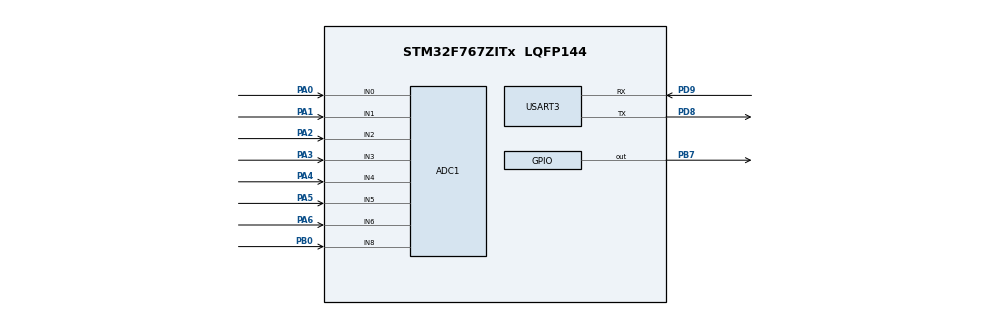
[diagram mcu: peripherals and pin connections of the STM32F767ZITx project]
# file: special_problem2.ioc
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ADC1.Channel-9\#ChannelRegularConversion=ADC_CHANNEL_0
ADC1.NbrOfConversionFlag=1
ADC1.Rank-9\#ChannelRegularConversion=1
ADC1.SamplingTime-9\#ChannelRegularConversion=ADC_SAMPLETIME_3CYCLES
ADC1.master=1
CORTEX_M7.default_mode_Activation=1
Dma.ADC1.0.Direction=DMA_PERIPH_TO_MEMORY
Dma.ADC1.0.FIFOMode=DMA_FIFOMODE_DISABLE
Dma.ADC1.0.Instance=DMA2_Stream0
Dma.ADC1.0.MemDataAlignment=DMA_MDATAALIGN_HALFWORD
Dma.ADC1.0.MemInc=DMA_MINC_ENABLE
Dma.ADC1.0.Mode=DMA_CIRCULAR
Dma.ADC1.0.PeriphDataAlignment=DMA_PDATAALIGN_HALFWORD
Dma.ADC1.0.PeriphInc=DMA_PINC_DISABLE
Dma.ADC1.0.Priority=DMA_PRIORITY_LOW
Dma.Request0=ADC1
Mcu.Family=STM32F7
Mcu.Name=STM32F767ZITx
Mcu.Package=LQFP144
NVIC.ADC_IRQn=true\:0\:0\:false\:false\:true\:true\:true\:true
NVIC.DMA2_Stream0_IRQn=true\:0\:0\:false\:false\:true\:false\:true\:true
NVIC.PriorityGroup=NVIC_PRIORITYGROUP_4
PA0/WKUP.Signal=ADCx_IN0
PA1.Signal=ADCx_IN1
PA2.Signal=ADCx_IN2
PA3.Signal=ADCx_IN3
PA4.Signal=ADCx_IN4
PA5.Signal=ADCx_IN5
PA6.Signal=ADCx_IN6
PB0.Signal=ADCx_IN8
PB7.Signal=GPIO_Output
PD8.Mode=Asynchronous
PD8.Signal=USART3_TX
PD9.Mode=Asynchronous
PD9.Signal=USART3_RX
ProjectManager.HeapSize=0x200
ProjectManager.StackSize=0x400
ProjectManager.TargetToolchain=STM32CubeIDE
RCC.HSE_VALUE=25000000
RCC.HSI_VALUE=16000000
RCC.LSE_VALUE=32768
RCC.USBFreq_Value=96000000
RCC.VCOOutputFreq_Value=192000000
SH.ADCx_IN0.0=ADC1_IN0,IN0
SH.ADCx_IN1.0=ADC1_IN1,IN1
SH.ADCx_IN2.0=ADC1_IN2,IN2
SH.ADCx_IN3.0=ADC1_IN3,IN3
SH.ADCx_IN4.0=ADC1_IN4,IN4
SH.ADCx_IN5.0=ADC1_IN5,IN5
SH.ADCx_IN6.0=ADC1_IN6,IN6
SH.ADCx_IN8.0=ADC1_IN8,IN8
USART3.VirtualMode-Asynchronous=VM_ASYNC
board=custom

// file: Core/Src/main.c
/* USER CODE BEGIN Header */
/**
  ******************************************************************************
  * @file           : main.c
  * @brief          : Main program body
  ******************************************************************************
  * @attention
  *
  * Copyright (c) 2024 STMicroelectronics.
  * All rights reserved.
  *
  * This software is licensed under terms that can be found in the LICENSE file
  * in the root directory of this software component.
  * If no LICENSE file comes with this software, it is provided AS-IS.
  *
  ******************************************************************************
  */
/* USER CODE END Header */
#include "main.h"
#include "stdio.h"
#include "usart.h"
#include "adc.h"
#include "dma.h"
#include "gpio.h"
#include <string.h>

/* USER CODE BEGIN PV */
uint16_t adc_values[8];
extern DMA_HandleTypeDef hdma_adc1;
extern UART_HandleTypeDef huart3;

/* USER CODE END PV */

void SystemClock_Config(void);
static void MPU_Config(void);

/* USER CODE BEGIN 0 */

UART_HandleTypeDef huart3;

/* USER CODE END 0 */

int main(void)
{

  /* MPU Configuration--------------------------------------------------------*/
  MPU_Config();

  /* MCU Configuration--------------------------------------------------------*/

  /* Reset of all peripherals, Initializes the Flash interface and the Systick. */
  HAL_Init();

  /* Configure the system clock */
  SystemClock_Config();

  /* Initialize all configured peripherals */
  MX_GPIO_Init();
  MX_DMA_Init();
  MX_ADC1_Init();
  MX_USART3_UART_Init();
  /* USER CODE BEGIN 2 */
  HAL_ADC_Start_DMA(&hadc1, (uint32_t*)adc_values, 8);
  const char *msg = "Hello\r\n";
  /* USER CODE END 2 */

  /* Infinite loop */
  /* USER CODE BEGIN WHILE */
  while (1)
  {https://forms.gle/EVem3RgQDtGo8HxX8
    /* USER CODE END WHILE */

    /* USER CODE BEGIN 3 */
//	  HAL_GPIO_TogglePin(GPIOB, GPIO_PIN_7); // Toggle LED
//	  HAL_Delay(500); // Delay to make the toggling visible
	  HAL_UART_Transmit(&huart3, (uint8_t*)msg, strlen(msg), HAL_MAX_DELAY);
	  HAL_Delay(1000); // Delay to avoid flooding the UART with messages
  }
  /* USER CODE END 3 */
}

void SystemClock_Config(void)
{
  RCC_OscInitTypeDef RCC_OscInitStruct = {0};
  RCC_ClkInitTypeDef RCC_ClkInitStruct = {0};

  /** Configure the main internal regulator output voltage
  */
  __HAL_RCC_PWR_CLK_ENABLE();
  __HAL_PWR_VOLTAGESCALING_CONFIG(PWR_REGULATOR_VOLTAGE_SCALE3);

  /** Initializes the RCC Oscillators according to the specified parameters
  * in the RCC_OscInitTypeDef structure.
  */
  RCC_OscInitStruct.OscillatorType = RCC_OSCILLATORTYPE_HSI;
  RCC_OscInitStruct.HSIState = RCC_HSI_ON;
  RCC_OscInitStruct.HSICalibrationValue = RCC_HSICALIBRATION_DEFAULT;
  RCC_OscInitStruct.PLL.PLLState = RCC_PLL_NONE;
  if (HAL_RCC_OscConfig(&RCC_OscInitStruct) != HAL_OK)
  {
    Error_Handler();
  }

  /** Initializes the CPU, AHB and APB buses clocks
  */
  RCC_ClkInitStruct.ClockType = RCC_CLOCKTYPE_HCLK|RCC_CLOCKTYPE_SYSCLK
                              |RCC_CLOCKTYPE_PCLK1|RCC_CLOCKTYPE_PCLK2;
  RCC_ClkInitStruct.SYSCLKSource = RCC_SYSCLKSOURCE_HSI;
  RCC_ClkInitStruct.AHBCLKDivider = RCC_SYSCLK_DIV1;
  RCC_ClkInitStruct.APB1CLKDivider = RCC_HCLK_DIV1;
  RCC_ClkInitStruct.APB2CLKDivider = RCC_HCLK_DIV1;

  if (HAL_RCC_ClockConfig(&RCC_ClkInitStruct, FLASH_LATENCY_0) != HAL_OK)
  {
    Error_Handler();
  }
}

/* USER CODE BEGIN 4 */
/* DMA2 Stream1 Interrupt Handler */
void DMA2_Stream1_IRQHandler(void)
{
    HAL_DMA_IRQHandler(&hdma_adc1);
}

/* ADC Conversion Complete Callback */
void HAL_ADC_ConvCpltCallback(ADC_HandleTypeDef* hadc)
{
    if (hadc->Instance == ADC1)
    {
        // Process ADC data (for debugging, you can print each value separately)
        char buffer[64];
        snprintf(buffer, sizeof(buffer), "ADC: %u %u %u %u %u %u %u %u\r\n",
                 adc_values[0], adc_values[1], adc_values[2], adc_values[3],
                 adc_values[4], adc_values[5], adc_values[6], adc_values[7]);

        // Send the formatted ADC values via UART
        HAL_UART_Transmit(&huart3, (uint8_t*)buffer, strlen(buffer), HAL_MAX_DELAY);
    }
}

/* ADC Error Callback */
void HAL_ADC_ErrorCallback(ADC_HandleTypeDef* hadc)
{
    if (hadc->Instance == ADC1)
    {
        // Handle ADC errors
        Error_Handler();
    }
}

/* USER CODE END 4 */

 /* MPU Configuration */

void MPU_Config(void)
{
  MPU_Region_InitTypeDef MPU_InitStruct = {0};

  /* Disables the MPU */
  HAL_MPU_Disable();

  /** Initializes and configures the Region and the memory to be protected
  */
  MPU_InitStruct.Enable = MPU_REGION_ENABLE;
  MPU_InitStruct.Number = MPU_REGION_NUMBER0;
  MPU_InitStruct.BaseAddress = 0x0;
  MPU_InitStruct.Size = MPU_REGION_SIZE_4GB;
  MPU_InitStruct.SubRegionDisable = 0x87;
  MPU_InitStruct.TypeExtField = MPU_TEX_LEVEL0;
  MPU_InitStruct.AccessPermission = MPU_REGION_NO_ACCESS;
  MPU_InitStruct.DisableExec = MPU_INSTRUCTION_ACCESS_DISABLE;
  MPU_InitStruct.IsShareable = MPU_ACCESS_SHAREABLE;
  MPU_InitStruct.IsCacheable = MPU_ACCESS_NOT_CACHEABLE;
  MPU_InitStruct.IsBufferable = MPU_ACCESS_NOT_BUFFERABLE;

  HAL_MPU_ConfigRegion(&MPU_InitStruct);
  /* Enables the MPU */
  HAL_MPU_Enable(MPU_PRIVILEGED_DEFAULT);

}

void Error_Handler(void)
{
  __disable_irq();
  while (1)
  {
  }
}
